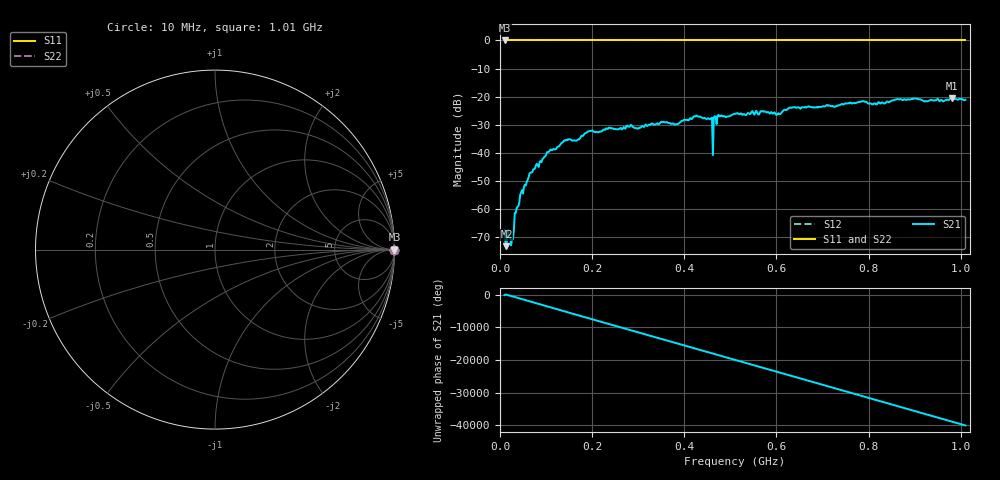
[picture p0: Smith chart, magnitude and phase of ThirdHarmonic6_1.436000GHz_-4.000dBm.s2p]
! 8/16/2025 4:34:43 PM
! C:\ANRITSUVNA\TEMP\TEMP.S2P
! CHANNEL.1
! TR.MEASUREMENT
! RAW.DATA
! RF.CORRECTION.OFF
! AVERAGING.OFF
! IF.BANDWIDTH: 5KHZ
! SWEEPTYPE:  FREQ.SWEEP(Linear)
! Reference Plane Port Info
! PORT:  PORT1  PORT2
! DISTANCE:  0  m  0  m
! TIME:  0  s  0  s
! PHASE.OFFSET:  0  deg.  0  deg.
! LOSS:  0  dB  0  dB
! REF.LOSS:  0  dB  0  dB
! REF.FREQ:  0  Hz  0  Hz
! Power Info
! POWER:  -20  dBm  -20  dBm
! EFF.POWER:  -20  dBm  -20  dBm
! SOURCE.ATTEN:  0  dB  0  dB
! TEST.ATTEN:  0  dB  0  dB
# GHZ S RI R 50.0
! FREQ.GHZ  S11RE  S11IM  S21RE  S21IM  S12RE  S12IM  S22RE  S22IM
!; PortSelection: Port_12
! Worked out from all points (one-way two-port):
!   501 points, 10 MHz to 1.01 GHz, reference 50 ohm
!   highest |S21| = -20.44 dB at 980 MHz (marker M1); lowest = -73.1 dB at 14 MHz (marker M2)
!   lowest |S11| = 0.0 dB at 10 MHz (marker M3)
!   |S11| at or under -10 dB: nowhere
!   |S22| runs from 0.0 to 0.0 dB; largest |S21 - S12| = 1.1
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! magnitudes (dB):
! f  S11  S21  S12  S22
! 10 MHz  0.0  -67.4  0.0  0.0
! 14 MHz  0.0  -73.1  0.0  0.0
! 26 MHz  0.0  -71.0  0.0  0.0
! 36 MHz  0.0  -59.7  0.0  0.0
! 48 MHz  0.0  -53.2  0.0  0.0
! 68 MHz  0.0  -46.9  0.0  0.0
! 106 MHz  0.0  -39.6  0.0  0.0
! 178 MHz  0.0  -33.8  0.0  0.0
! 344 MHz  0.0  -29.8  0.0  0.0
! 384 MHz  0.0  -29.7  0.0  0.0
! 424 MHz  0.0  -27.0  0.0  0.0
! 456 MHz  0.0  -28.0  0.0  0.0
! 458 MHz  0.0  -27.7  0.0  0.0
! 466 MHz  0.0  -26.9  0.0  0.0
! 468 MHz  0.0  -27.1  0.0  0.0
! 476 MHz  0.0  -27.0  0.0  0.0
! 510 MHz  0.0  -26.1  0.0  0.0
! 604 MHz  0.0  -25.9  0.0  0.0
! 678 MHz  0.0  -23.7  0.0  0.0
! 844 MHz  0.0  -22.0  0.0  0.0
! 980 MHz  0.0  -20.4  0.0  0.0
! 1.01 GHz  0.0  -21.1  0.0  0.0
